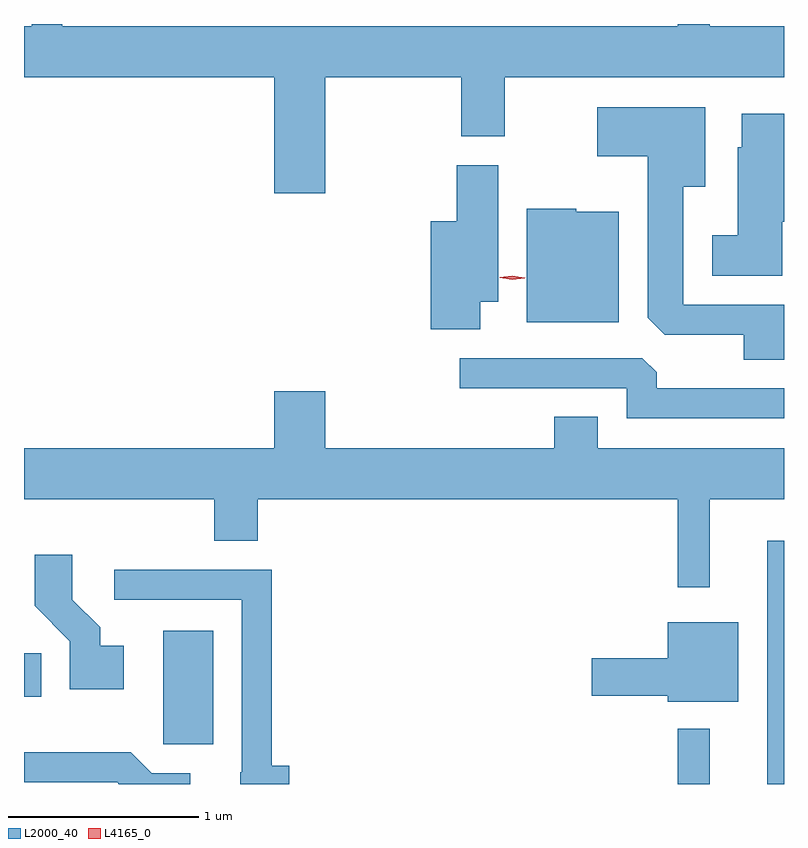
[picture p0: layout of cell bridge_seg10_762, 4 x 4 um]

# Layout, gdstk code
import gdstk
lib = gdstk.Library(unit=1e-6, precision=1e-09)
def R(c, l, rs):  # rectangles x0, y0, x1, y1
    for r in rs: c.add(gdstk.rectangle(r[:2], r[2:], *l))
def P(c, l, *ps):  # polygons
    for p in ps: c.add(gdstk.Polygon(p, *l))
L2000_40 = (2000, 40)
L4165_0 = (4165, 0)

bridge_seg10_762 = lib.new_cell('bridge_seg10_762')
R(bridge_seg10_762, L2000_40, [(576.841,2163.477,577.009,2163.768), (577.311,2163.477,577.399,2164.758), (574.131,2163.686,574.394,2164.284), (573.399,2163.936,573.489,2164.164)])
P(bridge_seg10_762, L2000_40, [(573.599,2167.477),(573.441,2167.477),(573.441,2167.464),(573.399,2167.464),(573.399,2167.196),(574.716,2167.196),(574.716,2166.586),(574.984,2166.586),(574.984,2167.196),(575.701,2167.196),(575.701,2166.886),(575.929,2166.886),(575.929,2167.196),(577.399,2167.196),(577.399,2167.464),(577.009,2167.464),(577.009,2167.477),(576.841,2167.477),(576.841,2167.464),(573.599,2167.464)],
  [(577.399,2165.999),(576.869,2165.999),(576.869,2166.621),(576.984,2166.621),(576.984,2167.039),(576.416,2167.039),(576.416,2166.781),(576.681,2166.781),(576.681,2165.932),(576.772,2165.841),(577.186,2165.841),(577.186,2165.711),(577.399,2165.711)],
  [(577.389,2166.436),(577.399,2166.436),(577.399,2167.004),(577.176,2167.004),(577.176,2166.829),(577.156,2166.829),(577.156,2166.364),(577.021,2166.364),(577.021,2166.151),(577.389,2166.151)],
  [(575.799,2166.016),(575.894,2166.016),(575.894,2166.734),(575.676,2166.734),(575.676,2166.439),(575.541,2166.439),(575.541,2165.871),(575.799,2165.871)],
  [(576.529,2166.489),(576.305,2166.489),(576.305,2166.504),(576.046,2166.504),(576.046,2165.906),(576.529,2165.906)],
  [(577.399,2165.559),(576.729,2165.559),(576.729,2165.644),(576.654,2165.719),(575.693,2165.719),(575.693,2165.561),(576.571,2165.561),(576.571,2165.401),(577.399,2165.401)],
  [(577.009,2164.976),(577.399,2164.976),(577.399,2165.244),(576.419,2165.244),(576.419,2165.409),(576.191,2165.409),(576.191,2165.244),(574.984,2165.244),(574.984,2165.544),(574.716,2165.544),(574.716,2165.244),(573.399,2165.244),(573.399,2164.976),(574.401,2164.976),(574.401,2164.756),(574.629,2164.756),(574.629,2164.976),(576.841,2164.976),(576.841,2164.513),(577.009,2164.513)],
  [(573.924,2164.204),(573.799,2164.204),(573.799,2164.302),(573.654,2164.447),(573.654,2164.684),(573.456,2164.684),(573.456,2164.414),(573.641,2164.229),(573.641,2163.976),(573.924,2163.976)],
  [(574.794,2163.574),(574.704,2163.574),(574.704,2164.604),(573.873,2164.604),(573.873,2164.446),(574.546,2164.446),(574.546,2163.54),(574.536,2163.54),(574.536,2163.477),(574.794,2163.477)],
  [(577.159,2164.329),(576.786,2164.329),(576.786,2164.139),(576.386,2164.139),(576.386,2163.941),(576.786,2163.941),(576.786,2163.911),(577.159,2163.911)],
  [(574.273,2163.534),(574.072,2163.534),(573.962,2163.644),(573.399,2163.644),(573.399,2163.486),(573.889,2163.486),(573.898,2163.477),(574.273,2163.477)])
P(bridge_seg10_762, L4165_0, [(575.969,2166.131),(575.904,2166.142),(575.903,2166.142),(575.904,2166.143),(575.97,2166.151),(576.035,2166.141),(576.036,2166.141),(576.035,2166.14)])

lib.write_gds('bridge_seg10_762.gds')
